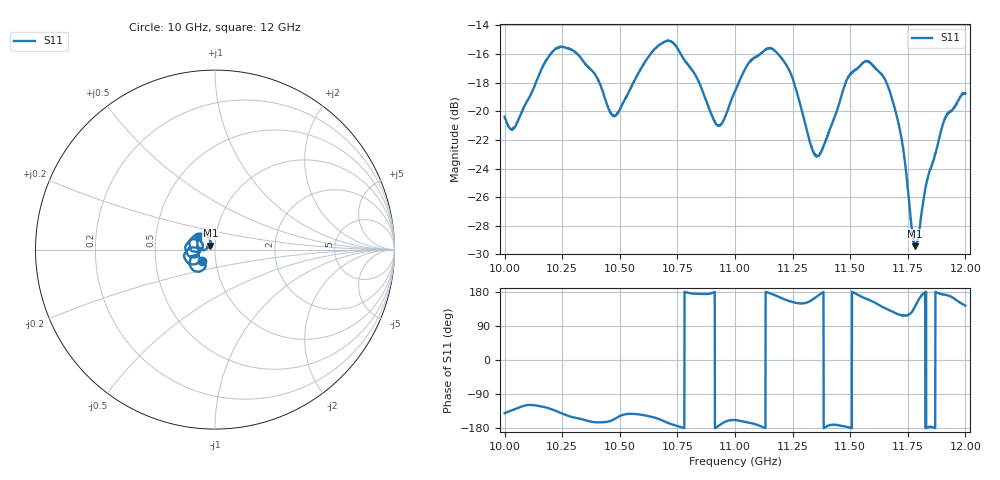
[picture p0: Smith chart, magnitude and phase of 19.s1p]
[Version] 2.0
! Rohde & Schwarz Vector Network Analyzer
! Rohde-Schwarz,ZNL20-2Port,1323001220200009,1.71.1.10-23.02.1.238
! Port Assignments:
! Nominal Port -> Actual Test Port
!  1 -> 1
! Created: GMT 2024-08-27 13:56:24
# Hz S DB R 50
[Number of Ports] 1
! freq[Hz]  S11[mag dB]  S11[ang]
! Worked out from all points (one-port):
!   2001 points, 10 GHz to 12 GHz, reference 50 ohm
!   lowest |S11| = -29.4 dB at 11.78 GHz (marker M1), VSWR 1.07, Z = 47.4 + j2.05 ohm
!   |S11| at or under -10 dB: start of sweep to end of sweep
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[Number of Frequencies] 28
[Network Data]
1e10  -20.38 -140.2
1.0042e10  -21.12 -130.2
1.0177e10  -16.53 -124.9
1.025e10  -15.50 -141.3
1.039e10  -17.36 -164.1
1.0466e10  -20.25 -159.2
1.05e10  -19.86 -147.9
1.0646e10  -15.75 -151.2
1.0709e10  -15.05 -166.0
1.075e10  -15.59 -174.4
1.0923e10  -20.96 -176.0
1.1e10  -18.60 -158.5
1.1061e10  -16.60 -165.5
1.1145e10  -15.60 177.4
1.125e10  -17.68 152.9
1.1329e10  -22.37 156.8
1.1357e10  -23.11 168.1
1.15e10  -17.40 -178.5
1.1573e10  -16.49 160.7
1.1652e10  -17.82 136.5
1.1713e10  -21.09 119.8
1.175e10  -25.46 118.1
1.1769e10  -28.37 128.1
1.1781e10  -29.43 140.4
1.1794e10  -28.91 155.8
1.1834e10  -24.84 -178.4
1.1905e10  -20.79 172.6
1.2e10  -18.75 143.4
[End]
